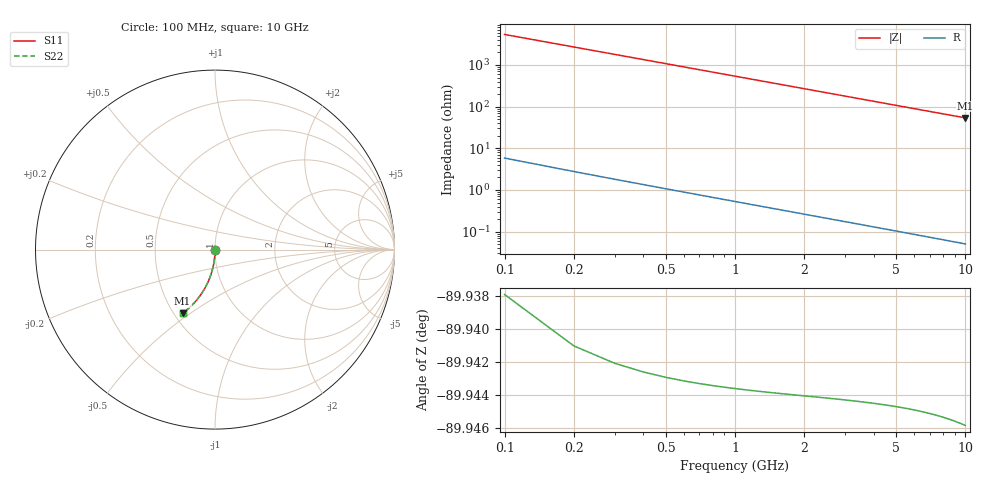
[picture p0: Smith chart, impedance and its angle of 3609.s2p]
# Hz S RI R 50.00
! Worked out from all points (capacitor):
!   100 points, 100 MHz to 10 GHz, reference 50 ohm
!   read as one part in shunt: C = 295 fF near 100 MHz
!   lowest |Z| = 53.8 ohm at 10 GHz (marker M1)
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1e8  4.4e-05 -0.00434  0.9999 -0.00494  0.9999 -0.00494  4.4e-05 -0.00434
2e8  -2.43e-05 -0.00868  0.9998 -0.00987  0.9998 -0.00987  -2.43e-05 -0.00868
3e8  -0.000136 -0.013  0.9997 -0.0148  0.9997 -0.0148  -0.000136 -0.013
4e8  -0.00029 -0.0174  0.9996 -0.0197  0.9996 -0.0197  -0.00029 -0.0174
5e8  -0.000487 -0.0217  0.9994 -0.0247  0.9994 -0.0247  -0.000487 -0.0217
6e8  -0.000726 -0.026  0.9991 -0.0296  0.9991 -0.0296  -0.000726 -0.026
7e8  -0.00101 -0.0303  0.9988 -0.0345  0.9988 -0.0345  -0.00101 -0.0303
8e8  -0.00133 -0.0347  0.9985 -0.0395  0.9985 -0.0395  -0.00133 -0.0347
9e8  -0.0017 -0.039  0.9981 -0.0444  0.9981 -0.0444  -0.0017 -0.039
1.1e9  -0.00257 -0.0476  0.9973 -0.0542  0.9973 -0.0542  -0.00257 -0.0476
1.4e9  -0.00418 -0.0605  0.9956 -0.0689  0.9956 -0.0689  -0.00418 -0.0605
1.8e9  -0.00692 -0.0776  0.9929 -0.0884  0.9929 -0.0884  -0.00692 -0.0776
2.1e9  -0.00941 -0.0904  0.9904 -0.1029  0.9904 -0.1029  -0.00941 -0.0904
2.5e9  -0.0133 -0.1072  0.9864 -0.1221  0.9864 -0.1221  -0.0133 -0.1072
2.9e9  -0.0178 -0.1238  0.9818 -0.1412  0.9818 -0.1412  -0.0178 -0.1238
3.4e9  -0.0244 -0.1442  0.9752 -0.1646  0.9752 -0.1646  -0.0244 -0.1442
4.2e9  -0.0369 -0.1759  0.9627 -0.2011  0.9627 -0.2011  -0.0369 -0.1759
5.1e9  -0.0535 -0.2099  0.9458 -0.2406  0.9458 -0.2406  -0.0535 -0.2099
5.9e9  -0.0706 -0.2384  0.9287 -0.2741  0.9287 -0.2741  -0.0706 -0.2384
6.7e9  -0.0894 -0.2652  0.9097 -0.3057  0.9097 -0.3057  -0.0894 -0.2652
8.4e9  -0.1343 -0.3157  0.8643 -0.3668  0.8643 -0.3668  -0.1343 -0.3157
1e10  -0.181 -0.3548  0.817 -0.4159  0.817 -0.4159  -0.181 -0.3548
